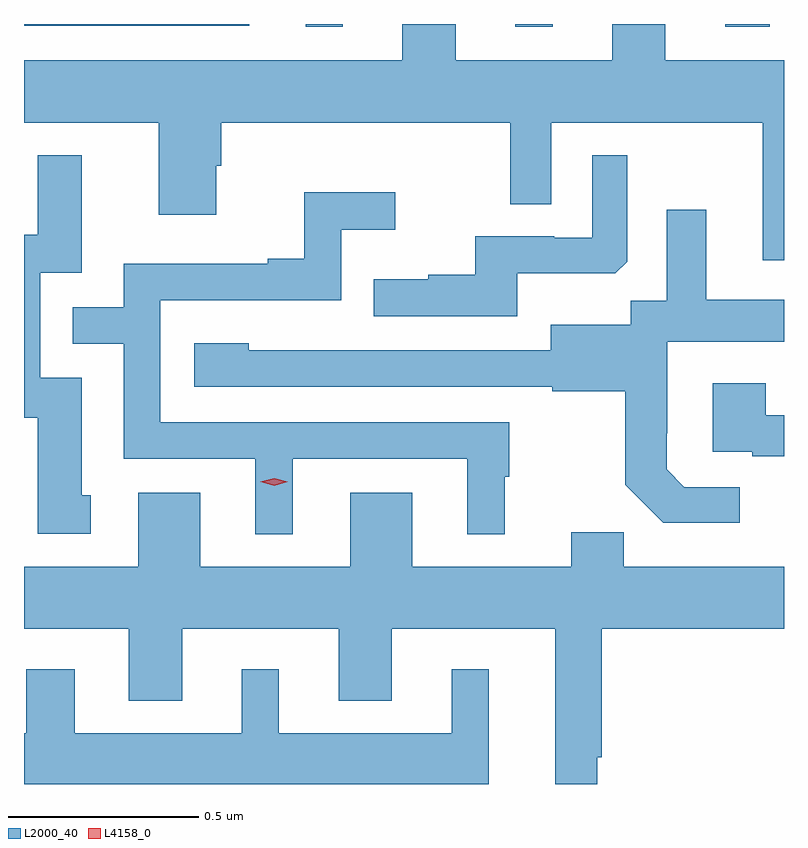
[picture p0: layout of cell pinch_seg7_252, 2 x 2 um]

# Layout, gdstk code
import gdstk
lib = gdstk.Library(unit=1e-6, precision=1e-09)
def R(c, l, rs):  # rectangles x0, y0, x1, y1
    for r in rs: c.add(gdstk.rectangle(r[:2], r[2:], *l))
def P(c, l, *ps):  # polygons
    for p in ps: c.add(gdstk.Polygon(p, *l))
L2000_40 = (2000, 40)
L4158_0 = (4158, 0)

pinch_seg7_252 = lib.new_cell('pinch_seg7_252')
R(pinch_seg7_252, L2000_40, [(838.46,1059.477,838.558,1059.484), (839.012,1059.477,839.11,1059.484), (839.564,1059.477,839.681,1059.484), (837.719,1059.479,838.312,1059.484)])
P(pinch_seg7_252, L2000_40, [(839.719,1059.388),(839.407,1059.388),(839.407,1059.484),(839.267,1059.484),(839.267,1059.388),(838.855,1059.388),(838.855,1059.484),(838.715,1059.484),(838.715,1059.388),(837.719,1059.388),(837.719,1059.224),(838.073,1059.224),(838.073,1058.982),(838.225,1058.982),(838.225,1059.111),(838.238,1059.111),(838.238,1059.224),(838.998,1059.224),(838.998,1059.01),(839.106,1059.01),(839.106,1059.224),(839.663,1059.224),(839.663,1058.862),(839.719,1058.862)],
  [(837.895,1058.244),(837.871,1058.244),(837.871,1058.553),(837.762,1058.553),(837.762,1058.829),(837.871,1058.829),(837.871,1059.139),(837.755,1059.139),(837.755,1058.93),(837.719,1058.93),(837.719,1058.448),(837.755,1058.448),(837.755,1058.142),(837.895,1058.142)],
  [(839.017,1058.828),(839.275,1058.828),(839.307,1058.859),(839.307,1059.139),(839.214,1059.139),(839.214,1058.922),(839.114,1058.922),(839.114,1058.925),(838.907,1058.925),(838.907,1058.824),(838.783,1058.824),(838.783,1058.812),(838.639,1058.812),(838.639,1058.715),(839.017,1058.715)],
  [(838.426,1058.34),(838.886,1058.34),(838.886,1058.141),(838.984,1058.141),(838.984,1058.292),(838.996,1058.292),(838.996,1058.436),(838.077,1058.436),(838.077,1058.757),(838.554,1058.757),(838.554,1058.942),(838.696,1058.942),(838.696,1059.041),(838.456,1059.041),(838.456,1058.866),(838.361,1058.866),(838.361,1058.853),(837.981,1058.853),(837.981,1058.739),(837.847,1058.739),(837.847,1058.643),(837.981,1058.643),(837.981,1058.34),(838.328,1058.34),(838.328,1058.141),(838.426,1058.141)],
  [(839.602,1058.265),(839.457,1058.265),(839.41,1058.312),(839.41,1058.407),(839.412,1058.407),(839.412,1058.648),(839.719,1058.648),(839.719,1058.758),(839.515,1058.758),(839.515,1058.995),(839.411,1058.995),(839.411,1058.756),(839.316,1058.756),(839.316,1058.692),(839.105,1058.692),(839.105,1058.625),(838.547,1058.625),(838.547,1058.626),(838.311,1058.626),(838.311,1058.644),(838.167,1058.644),(838.167,1058.529),(839.109,1058.529),(839.109,1058.517),(839.301,1058.517),(839.301,1058.271),(839.401,1058.171),(839.602,1058.171)],
  [(839.719,1058.454),(839.671,1058.454),(839.671,1058.539),(839.531,1058.539),(839.531,1058.358),(839.635,1058.358),(839.635,1058.346),(839.719,1058.346)],
  [(839.228,1057.555),(839.239,1057.555),(839.239,1057.892),(839.719,1057.892),(839.719,1058.056),(839.297,1058.056),(839.297,1058.147),(839.159,1058.147),(839.159,1058.056),(838.741,1058.056),(838.741,1058.251),(838.577,1058.251),(838.577,1058.056),(838.183,1058.056),(838.183,1058.251),(838.019,1058.251),(838.019,1058.056),(837.719,1058.056),(837.719,1057.892),(837.995,1057.892),(837.995,1057.703),(838.135,1057.703),(838.135,1057.892),(838.547,1057.892),(838.547,1057.703),(838.687,1057.703),(838.687,1057.892),(839.117,1057.892),(839.117,1057.484),(839.228,1057.484)],
  [(838.942,1057.786),(838.844,1057.786),(838.844,1057.618),(838.39,1057.618),(838.39,1057.786),(838.292,1057.786),(838.292,1057.618),(837.853,1057.618),(837.853,1057.786),(837.725,1057.786),(837.725,1057.618),(837.719,1057.618),(837.719,1057.484),(838.942,1057.484)])
P(pinch_seg7_252, L4158_0, [(838.377,1058.269),(838.341,1058.279),(838.341,1058.279),(838.341,1058.279),(838.377,1058.289),(838.413,1058.279),(838.413,1058.279),(838.413,1058.279)])

lib.write_gds('pinch_seg7_252.gds')
